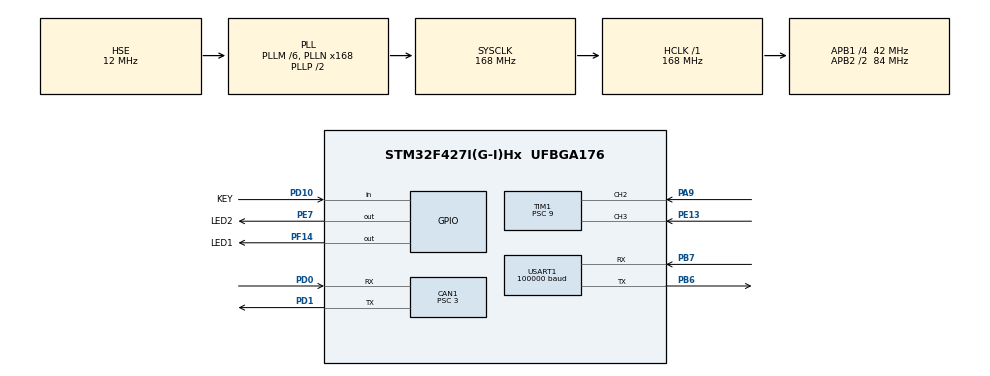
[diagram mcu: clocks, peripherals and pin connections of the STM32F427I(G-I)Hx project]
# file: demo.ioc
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CAN1.ABOM=ENABLE
CAN1.BS1=CAN_BS1_9TQ
CAN1.BS2=CAN_BS2_4TQ
CAN1.CalculateTimeBit=1000
CAN1.CalculateTimeQuantum=71.42857142857143
CAN1.Prescaler=3
CAN1.SJW=CAN_SJW_1TQ
Dma.Request0=USART1_RX
Dma.Request1=TIM1_CH1/CH2/CH3
Dma.TIM1_CH1/CH2/CH3.1.Direction=DMA_PERIPH_TO_MEMORY
Dma.TIM1_CH1/CH2/CH3.1.FIFOMode=DMA_FIFOMODE_DISABLE
Dma.TIM1_CH1/CH2/CH3.1.Instance=DMA2_Stream6
Dma.TIM1_CH1/CH2/CH3.1.MemDataAlignment=DMA_MDATAALIGN_HALFWORD
Dma.TIM1_CH1/CH2/CH3.1.MemInc=DMA_MINC_ENABLE
Dma.TIM1_CH1/CH2/CH3.1.Mode=DMA_CIRCULAR
Dma.TIM1_CH1/CH2/CH3.1.PeriphDataAlignment=DMA_PDATAALIGN_HALFWORD
Dma.TIM1_CH1/CH2/CH3.1.PeriphInc=DMA_PINC_DISABLE
Dma.TIM1_CH1/CH2/CH3.1.Priority=DMA_PRIORITY_LOW
Dma.USART1_RX.0.Direction=DMA_PERIPH_TO_MEMORY
Dma.USART1_RX.0.FIFOMode=DMA_FIFOMODE_DISABLE
Dma.USART1_RX.0.Instance=DMA2_Stream2
Dma.USART1_RX.0.MemDataAlignment=DMA_MDATAALIGN_BYTE
Dma.USART1_RX.0.MemInc=DMA_MINC_ENABLE
Dma.USART1_RX.0.Mode=DMA_NORMAL
Dma.USART1_RX.0.PeriphDataAlignment=DMA_PDATAALIGN_BYTE
Dma.USART1_RX.0.PeriphInc=DMA_PINC_DISABLE
Dma.USART1_RX.0.Priority=DMA_PRIORITY_LOW
Mcu.Family=STM32F4
Mcu.Name=STM32F427I(G-I)Hx
Mcu.Package=UFBGA176
NVIC.CAN1_RX0_IRQn=true\:0\:0\:false\:false\:true\:true\:true
NVIC.CAN1_TX_IRQn=true\:0\:0\:false\:false\:true\:true\:true
NVIC.DMA2_Stream2_IRQn=true\:0\:0\:false\:false\:true\:true\:true
NVIC.DMA2_Stream6_IRQn=true\:0\:0\:false\:false\:true\:false\:true
NVIC.PriorityGroup=NVIC_PRIORITYGROUP_4
NVIC.TIM6_DAC_IRQn=true\:0\:0\:false\:false\:true\:true\:true
NVIC.TimeBase=TIM6_DAC_IRQn
NVIC.TimeBaseIP=TIM6
NVIC.USART1_IRQn=true\:0\:0\:false\:false\:true\:true\:true
PA13.Mode=Serial_Wire
PA13.Signal=SYS_JTMS-SWDIO
PA14.Mode=Serial_Wire
PA14.Signal=SYS_JTCK-SWCLK
PA9.Signal=S_TIM1_CH2
PB6.Mode=Asynchronous
PB6.Signal=USART1_TX
PB7.Mode=Asynchronous
PB7.Signal=USART1_RX
PD0.Mode=Master
PD0.Signal=CAN1_RX
PD1.Mode=Master
PD1.Signal=CAN1_TX
PD10.GPIO_Label=KEY
PD10.Signal=GPIO_Input
PE13.Signal=S_TIM1_CH3
PE7.GPIO_Label=LED2
PE7.Signal=GPIO_Output
PF14.GPIO_Label=LED1
PF14.Signal=GPIO_Output
PH0/OSC_IN.Mode=HSE-External-Oscillator
PH0/OSC_IN.Signal=RCC_OSC_IN
PH1/OSC_OUT.Mode=HSE-External-Oscillator
PH1/OSC_OUT.Signal=RCC_OSC_OUT
ProjectManager.HeapSize=0x200
ProjectManager.StackSize=0x400
ProjectManager.TargetToolchain=STM32CubeIDE
RCC.48MHZClocksFreq_Value=84000000
RCC.AHBFreq_Value=168000000
RCC.APB1CLKDivider=RCC_HCLK_DIV4
RCC.APB1Freq_Value=42000000
RCC.APB1TimFreq_Value=84000000
RCC.APB2CLKDivider=RCC_HCLK_DIV2
RCC.APB2Freq_Value=84000000
RCC.APB2TimFreq_Value=168000000
RCC.CortexFreq_Value=168000000
RCC.HCLKFreq_Value=168000000
RCC.HSE_VALUE=12000000
RCC.HSI_VALUE=16000000
RCC.LSE_VALUE=32768
RCC.PLLM=6
RCC.PLLN=168
RCC.PLLSourceVirtual=RCC_PLLSOURCE_HSE
RCC.SYSCLKFreq_VALUE=168000000
RCC.SYSCLKSource=RCC_SYSCLKSOURCE_PLLCLK
RCC.VCOOutputFreq_Value=336000000
SH.S_TIM1_CH2.0=TIM1_CH2,Input_Capture2_from_TI2
SH.S_TIM1_CH2.1=TIM1_CH2,Input_Capture1_from_TI2
SH.S_TIM1_CH3.0=TIM1_CH3,Input_Capture3_from_TI3
SH.S_TIM1_CH3.1=TIM1_CH3,Input_Capture4_from_TI3
TIM1.Channel-Input_Capture1_from_TI2=TIM_CHANNEL_1
TIM1.Channel-Input_Capture2_from_TI2=TIM_CHANNEL_2
TIM1.Channel-Input_Capture3_from_TI3=TIM_CHANNEL_3
TIM1.Channel-Input_Capture4_from_TI3=TIM_CHANNEL_4
TIM1.ICPolarity_CH2=TIM_INPUTCHANNELPOLARITY_BOTHEDGE
TIM1.Period=9999
TIM1.Prescaler=9
USART1.BaudRate=100000
USART1.Parity=PARITY_EVEN
USART1.VirtualMode=VM_ASYNC
VP_SYS_VS_tim6.Mode=TIM6
board=demo

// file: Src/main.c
/* USER CODE BEGIN Header */
/**
  ******************************************************************************
  * @file           : main.c
  * @brief          : Main program body
  ******************************************************************************
  * @attention
  *
  * <h2><center>&copy; Copyright (c) 2019 STMicroelectronics.
  * All rights reserved.</center></h2>
  *
  * This software component is licensed by ST under BSD 3-Clause license,
  * the "License"; You may not use this file except in compliance with the
  * License. You may obtain a copy of the License at:
  *                        opensource.org/licenses/BSD-3-Clause
  *
  ******************************************************************************
  */
/* USER CODE END Header */

#include "main.h"
#include "can.h"
#include "dma.h"
#include "tim.h"
#include "usart.h"
#include "gpio.h"

/* USER CODE BEGIN Includes */
#include "kalman_filter.h"
#include "./bsp/bsp_can.h"
#include "./bsp/bsp_imu.h"
#include "./bsp/pid.h"
#include "Remote_Control.h"
/* USER CODE END Includes */

/* USER CODE BEGIN PV */
/* Private variables ---------------------------------------------------------*/
#define INFANTRY_1

/* uart vars */
char * result;
float heading = 999;
float heading_pos = 999;
uint8_t aRxBuffer;
uint8_t Uart1_RxBuff[256];
uint8_t Uart1_Rx_Cnt = 0;
uint8_t	cAlmStr[] = "overflow!!!\r\n";

PID_TypeDef motor_pid[4];
PID_TypeDef chassis_rotate_pos;

PID_TypeDef yaw_pid_lock_speed;
PID_TypeDef yaw_pid_lock_pos;

PID_TypeDef pitch_pid_speed;
PID_TypeDef yaw_pid_speed;
PID_TypeDef pitch_pid_pos;
PID_TypeDef yaw_pid_pos;
PID_TypeDef yaw_pid_aim_pos;

PID_TypeDef trigger_pid_speed;
// yaw 345
// pitch
int32_t set_spd = 0;

int32_t end_Yaw = 0;
// Calculate Time
int32_t counter = 0;
uint32_t imuCalTime = 0;
uint32_t imuFirst = 0;
uint32_t imuLast = 0;

uint32_t pid_pos_first = 0;
uint32_t pid_pos_last = 0;
uint32_t pid_pos_time = 0;

uint32_t pid_speed_last = 0;
uint32_t pid_speed_time = 0;

uint32_t pid_time = 0;

#ifdef INFANTRY_1
int32_t pitch_zero_position = -51;
int32_t yaw_zero_position = 27;
float sbase = 2;
#endif
#ifdef INFANTRY_2
int32_t pitch_zero_position = -55;
int32_t yaw_zero_position = -60;
float sbase = 1.5;
#endif
// Infantry 3
#ifdef INFANTRY_3
int32_t pitch_zero_position = -175;
int32_t yaw_zero_position = 2;
float sbase = 2;
#endif

int32_t yaw_test_speed = 0;
//Trigger
int32_t test_speed = 1000;

// Friction Wheel
int32_t launch_pwm = 1150;

float pitch_angle = 0;
float yaw_angle = 0;

int32_t wheel_speeds[4];
int32_t x_speed = 0;
int32_t y_speed = 0;
float rotate_speed = 0;
float r_speed = 0;

// integration of speed for mouse
float x_integrand = 0;
float y_integrand = 0;

int32_t test_Callback = 0;

static int key_sta = 0;
int speed_step_sign = +1;

int lock_control = 0;

int w_pressed = 0;

uint16_t TIM_COUNT[2];
#define SpeedStep 500

float pitch_filter_value = 0;
float yaw_filter_value = 0;
float output_value = 0;

int center_angle;

int firstTime = 1;
int firstAim = 1;

uint8_t chassis_mode = 0;

float speed_scale = 0;

kalman1_state pitch_filter;
kalman1_state yaw_filter;

extern imu_t imu;

uint32_t x_stopped_time;
uint8_t mouse_x_moved;

int send_control = 0;
int niuYao = 0;

/* USER CODE END PV */

void SystemClock_Config(void);
/* USER CODE BEGIN PFP */
/* Private function prototypes -----------------------------------------------*/

/* USER CODE END PFP */

/* USER CODE BEGIN 0 */
void Key_Scan(){

		if(HAL_GPIO_ReadPin(KEY_GPIO_Port,KEY_Pin) == GPIO_PIN_RESET){

			if(key_sta == 0){

				key_sta = 1;

				set_spd += SpeedStep*speed_step_sign;

				if(set_spd>8000)
				{
					speed_step_sign = -1;
				}

				if(set_spd<=0){

					set_spd = 0;
					speed_step_sign = 1;

				}

			}

		}else{

			key_sta = 0;

		}

}

/* USER CODE END 0 */

int main(void)
{

  /* MCU Configuration--------------------------------------------------------*/

  /* Reset of all peripherals, Initializes the Flash interface and the Systick. */
  HAL_Init();

  /* Configure the system clock */
  SystemClock_Config();

  /* Initialize all configured peripherals */
  MX_GPIO_Init();
  MX_DMA_Init();
  MX_CAN1_Init();
  MX_USART1_UART_Init();
  MX_TIM1_Init();
  /* USER CODE BEGIN 2 */
  my_can_filter_init_recv_all(&hcan1);     // Initialize CAN filter
  HAL_CAN_Receive_IT(&hcan1, CAN_FIFO0);   // Initialize CAN Signal Receiver
  HAL_UART_Receive_IT_IDLE(&huart1,UART_Buffer,100);   //Initialize UART(Serial) Signal Receiver (IDLE?)
  HAL_UART_Receive_IT(&huart6, (uint8_t *)&aRxBuffer, 1); //Initialize UART(Serial) Signal Receiver

  HAL_TIM_IC_Start_DMA(&htim1,TIM_CHANNEL_2,(uint32_t *)TIM_COUNT,2);

	HAL_TIM_PWM_Start(&htim2,TIM_CHANNEL_1);
	HAL_TIM_PWM_Start(&htim2,TIM_CHANNEL_2);
	HAL_TIM_PWM_Start(&htim2,TIM_CHANNEL_3);
	HAL_TIM_PWM_Start(&htim2,TIM_CHANNEL_4);

	HAL_TIM_PWM_Start(&htim4,TIM_CHANNEL_1);
	HAL_TIM_PWM_Start(&htim4,TIM_CHANNEL_2);
	HAL_TIM_PWM_Start(&htim4,TIM_CHANNEL_3);
	HAL_TIM_PWM_Start(&htim4,TIM_CHANNEL_4);

	/*< Initialize PID for the 4 wheels >*/
  for(int i=0; i<4; i++)
  {
    pid_init(&motor_pid[i]);
    motor_pid[i].f_param_init(&motor_pid[i],PID_Speed,16384,5000,10,0,8000,0,6.0,0,0.5);
  }

	pid_init(&chassis_rotate_pos);
	pid_init(&yaw_pid_lock_pos);
	pid_init(&yaw_pid_lock_speed);
	pid_init(&pitch_pid_pos);
	pid_init(&pitch_pid_speed);
	pid_init(&yaw_pid_pos);
	pid_init(&yaw_pid_speed);
	pid_init(&trigger_pid_speed);
	pid_init(&yaw_pid_aim_pos);

	// Dodge Mode PID for yaw axis positional control
	yaw_pid_lock_pos.f_param_init(&yaw_pid_lock_pos, PID_Position, 30000, 30000, 0, 0, 8000, 0, 15, 0.0, 30);
	yaw_pid_lock_pos.target = yaw_zero_position;
	yaw_pid_lock_pos.f_cal_pid(&yaw_pid_lock_pos, moto_yaw.angle_360);

	// Dodge Mode PID for yaw axis speed control
	yaw_pid_lock_speed.f_param_init(&yaw_pid_lock_speed, PID_Speed, 30000, 30000, 0, 0, 8000, 0, 120, 0, 0);
	yaw_pid_lock_speed.target = 0;
	yaw_pid_lock_speed.f_cal_pid(&yaw_pid_lock_speed, moto_yaw.ecd_raw_rate);

	// Normal Mode PID for yaw axis positional control
	yaw_pid_pos.f_param_init(&yaw_pid_pos, PID_Position, 1500,1500,-2,0,2000,0,30,0,60);
	yaw_pid_pos.target = yaw_zero_position;
	yaw_pid_pos.f_cal_pid(&yaw_pid_pos, moto_yaw.angle_360);

	// Normal Mode PID for yaw axis speed control
	yaw_pid_speed.f_param_init(&yaw_pid_speed, PID_Speed, 30000,30000,0,0,8000,0,80,0,0);
	yaw_pid_speed.target = yaw_pid_pos.output;
	yaw_pid_speed.f_cal_pid(&yaw_pid_speed, moto_yaw.speed_rpm);

	// Legacy Code problem
    yaw_pid_speed.target = 0;
	yaw_pid_pos.target = heading_pos;

	// Aim Mode PID for yaw axis positional control (using normal mode speed control PID)
	yaw_pid_aim_pos.f_param_init(&yaw_pid_aim_pos, PID_Position, 30000, 30000, 0, 0, 8000, 0, 3, 0.0, 15);
	yaw_pid_aim_pos.target = yaw_zero_position;
	yaw_pid_aim_pos.f_cal_pid(&yaw_pid_aim_pos, moto_yaw.angle_360);

	chassis_rotate_pos.f_param_init(&chassis_rotate_pos, PID_Position, 5000, 5000, 0, 0, 5000, 0, 50, 0, 6);
	chassis_rotate_pos.target = yaw_zero_position;
	chassis_rotate_pos.f_cal_pid(&chassis_rotate_pos, moto_yaw.angle_360);

	pitch_pid_pos.f_param_init(&pitch_pid_pos, PID_Position, 1000,5000,-2,0,2000,0,30,0,80);
	pitch_pid_pos.target = pitch_angle;
	pitch_pid_pos.f_cal_pid(&pitch_pid_pos, -moto_pit.angle_360);

	pitch_pid_speed.f_param_init(&pitch_pid_speed, PID_Speed, 30000,30000,0,0,8000,0,50,0,0);
	pitch_pid_speed.target = -pitch_pid_pos.output;
	pitch_pid_speed.f_cal_pid(&pitch_pid_speed, moto_pit.ecd_raw_rate);

	// infantry
	trigger_pid_speed.f_param_init(&trigger_pid_speed, PID_Speed, 8000, 5000, 10, 0, 8000, 0, 1.5, 0.1, 0);
	// hero
	//trigger_pid_speed.f_param_init(&trigger_pid_speed, PID_Speed, 8000, 5000, 10, 0, 8000, 0, 5, 0, 0);

	kalman1_init(&yaw_filter, moto_yaw.speed_rpm, 1e2);
	kalman1_init(&pitch_filter, pitch_pid_speed.output, 1e3);

	mpu_device_init();
	init_quaternion();
	imu.yaw = 999;
	imu.rol = 999;

	pitch_angle = pitch_zero_position;

  /* USER CODE END 2 */

  /* Infinite loop */
  /* USER CODE BEGIN WHILE */
  while (1)
  {
		if(send_control) {
			send_control = 0;
		} else {
			send_control = 1;
		}

    if(HAL_GetTick() - Latest_Remote_Control_Pack_Time >500){   //���500ms��û���յ�ң�������ݣ�֤��ң���������Ѿ�����

		// process controller input
    }else{
      set_spd = remote_control.ch4*8000/660;
			y_speed = -remote_control.ch4*8000/660;
			x_speed = -remote_control.ch3*8000/660;
			rotate_speed = -remote_control.ch1*8000.0/660.0;

			yaw_angle = yaw_zero_position - remote_control.ch1*20.0/660.0;

			pitch_angle = pitch_zero_position + remote_control.ch2*12.0/660.0;
    }

		if(is_mouse_moved()) {
			rotate_speed = -calculate_mouse_x_speed()*8000;
		}

		if(is_w_pressed())
		{
			y_speed = -0.2*8000;
		}

		if(is_s_pressed()){

			y_speed = 0.2*8000;
		}

		if(is_a_pressed()) {
			x_speed = 0.2*8000;
		}

		if(is_d_pressed()) {
			x_speed = -0.2*8000;
		}

		if(is_q_pressed()) {
			rotate_speed = 0.2*8000;
		}

		if(is_e_pressed()) {
			rotate_speed = -0.2*8000;
		}

		switch(remote_control.switch_left){
			case 1: //left up
			{
				htim4.Instance->CCR1 = 1800;
				htim4.Instance->CCR2 = 1800;
				break;
			}
			case 2: //left Down
			{
				htim4.Instance->CCR1 = 1800;
				htim4.Instance->CCR2 = 1800;
				break;
			}
			case 3: // left middle
				htim4.Instance->CCR1 = 1000;
				htim4.Instance->CCR2 = 1000;
		}

		// turret aiming
		if(niuYao){
			if (firstTime){
			  yaw_pid_lock_pos.target = heading_pos;
				//chassis_rotate_pos.target = yaw_zero_position - 30;
			}

			if(heading != 999 && heading_pos != 999) {

				if ( moto_yaw.angle_360 - yaw_zero_position < - 20 ){
					chassis_rotate_pos.target = yaw_zero_position + 20;

				}
				if ( moto_yaw.angle_360 - yaw_zero_position > 20 ){
					chassis_rotate_pos.target = yaw_zero_position - 20;
				}

				// Set the yaw_moto target to chassis_rotate target
				//yaw_pid_lock_pos.target = chassis_rotate_pos.target;

				yaw_pid_lock_pos.f_cal_pid(&yaw_pid_lock_pos, heading_pos);
				yaw_pid_lock_speed.target = -yaw_pid_lock_pos.output;

				yaw_pid_lock_speed.f_cal_pid( &yaw_pid_lock_speed, moto_yaw.ecd_raw_rate);
				yaw_pid_speed.output = yaw_pid_lock_speed.output;

		    chassis_rotate_pos.f_cal_pid(&chassis_rotate_pos, moto_yaw.angle_360);

				//Test: Close chassis rotate
				//chassis_rotate_pos.output=0;

				rotate_speed = -chassis_rotate_pos.output;
				wheel_speeds[0] = x_speed + y_speed + rotate_speed;
				wheel_speeds[1] = -x_speed + y_speed - rotate_speed;
				wheel_speeds[2] = -x_speed + y_speed + rotate_speed;
				wheel_speeds[3] = x_speed + y_speed - rotate_speed;

				wheel_speeds[0] = wheel_speeds[0] * -1;
				wheel_speeds[2] = wheel_speeds[2] * -1;
			}

			firstTime = 0;

		} else {
		  yaw_pid_pos.target = yaw_zero_position;
		  yaw_pid_pos.f_cal_pid(&yaw_pid_pos, moto_yaw.angle_360);

	  	yaw_pid_speed.target = yaw_pid_pos.output;
		  yaw_pid_speed.f_cal_pid(&yaw_pid_speed, moto_yaw.ecd_raw_rate);

		  wheel_speeds[0] = x_speed + y_speed + rotate_speed;
		  wheel_speeds[1] = -x_speed + y_speed - rotate_speed;
		  wheel_speeds[2] = -x_speed + y_speed + rotate_speed;
		  wheel_speeds[3] = x_speed + y_speed - rotate_speed;

		  wheel_speeds[0] = wheel_speeds[0] * -1;
		  wheel_speeds[2] = wheel_speeds[2] * -1;

			chassis_rotate_pos.output=0;
			chassis_rotate_pos.target = yaw_zero_position - 20;
			firstTime = 1;
		}

		// lose control
		if (moto_yaw.angle_360 > 110 ){
			end_Yaw = 1;
		}

//////////////////////////////////Calculate PID////////////////////////////////////////////////////////
    for(int i=0; i<4; i++)
    {
      motor_pid[i].target = wheel_speeds[i];
      motor_pid[i].f_cal_pid(&motor_pid[i],moto_chassis[i].speed_rpm);    //�����趨ֵ����PID���㡣
    }

		pitch_pid_pos.target = pitch_angle;
		pitch_pid_pos.f_cal_pid(&pitch_pid_pos, moto_pit.angle_360);

		pitch_pid_speed.target = pitch_pid_pos.output;
		pitch_pid_speed.f_cal_pid(&pitch_pid_speed, moto_pit.ecd_raw_rate);

		switch(remote_control.switch_right) {
			// right up, turn on trigger
			case 1:
			{
				trigger_pid_speed.target = test_speed;
				trigger_pid_speed.f_cal_pid(&trigger_pid_speed, moto_trigger.ecd_raw_rate);
				niuYao = 1;
				break;
			}
			// right down, turn  on trigger
			case 2:
			{
				trigger_pid_speed.target = test_speed;
				trigger_pid_speed.f_cal_pid(&trigger_pid_speed, moto_trigger.ecd_raw_rate);
			  niuYao = 1;
				break;
			}
			// right middle, turn off trigger
			case 3:
			{
				trigger_pid_speed.target = 0;
				trigger_pid_speed.f_cal_pid(&trigger_pid_speed, moto_trigger.ecd_raw_rate);
				niuYao = 0;
				break;
			}
		}
//////////////////////////////////////////////////////////////////////////////////////////////////////

		if (end_Yaw != 0){
		  yaw_pid_speed.output = 0;
			for(int i=0; i<4; i++){
        motor_pid[i].output = 0;
      }
			pitch_pid_speed.output = 0;
			chassis_rotate_pos.output=0;
			trigger_pid_speed.output = 0;
		}

		// set chassis motors' currents via CAN
    set_moto_current(&hcan1, motor_pid[0].output,   //��PID�ļ�����ͨ��CAN���͵����
                        motor_pid[1].output,
                        motor_pid[2].output,
                        motor_pid[3].output);

		// send calculated current to yaw, pitch, and trigger motors

		if(send_control) {
				send_gimbal_cur(&hcan1, yaw_pid_speed.output, pitch_pid_speed.output, trigger_pid_speed.output);
			}

			HAL_Delay(5);      //PID����Ƶ��100HZ

  }
}

void SystemClock_Config(void)
{
  RCC_OscInitTypeDef RCC_OscInitStruct = {0};
  RCC_ClkInitTypeDef RCC_ClkInitStruct = {0};

  /** Configure the main internal regulator output voltage
  */
  __HAL_RCC_PWR_CLK_ENABLE();
  __HAL_PWR_VOLTAGESCALING_CONFIG(PWR_REGULATOR_VOLTAGE_SCALE1);
  /** Initializes the CPU, AHB and APB busses clocks
  */
  RCC_OscInitStruct.OscillatorType = RCC_OSCILLATORTYPE_HSE;
  RCC_OscInitStruct.HSEState = RCC_HSE_ON;
  RCC_OscInitStruct.PLL.PLLState = RCC_PLL_ON;
  RCC_OscInitStruct.PLL.PLLSource = RCC_PLLSOURCE_HSE;
  RCC_OscInitStruct.PLL.PLLM = 6;
  RCC_OscInitStruct.PLL.PLLN = 168;
  RCC_OscInitStruct.PLL.PLLP = RCC_PLLP_DIV2;
  RCC_OscInitStruct.PLL.PLLQ = 4;
  if (HAL_RCC_OscConfig(&RCC_OscInitStruct) != HAL_OK)
  {
    Error_Handler();
  }
  /** Initializes the CPU, AHB and APB busses clocks
  */
  RCC_ClkInitStruct.ClockType = RCC_CLOCKTYPE_HCLK|RCC_CLOCKTYPE_SYSCLK
                              |RCC_CLOCKTYPE_PCLK1|RCC_CLOCKTYPE_PCLK2;
  RCC_ClkInitStruct.SYSCLKSource = RCC_SYSCLKSOURCE_PLLCLK;
  RCC_ClkInitStruct.AHBCLKDivider = RCC_SYSCLK_DIV1;
  RCC_ClkInitStruct.APB1CLKDivider = RCC_HCLK_DIV4;
  RCC_ClkInitStruct.APB2CLKDivider = RCC_HCLK_DIV2;

  if (HAL_RCC_ClockConfig(&RCC_ClkInitStruct, FLASH_LATENCY_5) != HAL_OK)
  {
    Error_Handler();
  }
}

/* USER CODE BEGIN 4 */
/**
  * @brief  Rx Transfer completed callbacks.
  * @param  huart pointer to a UART_HandleTypeDef structure that contains
  *                the configuration information for the specified UART module.
  * @retval None
  */
void HAL_UART_RxCpltCallback(UART_HandleTypeDef *huart)
{

  /* Prevent unused argument(s) compilation warning */
  UNUSED(huart);
  /* NOTE: This function Should not be modified, when the callback is needed,
           the HAL_UART_TxCpltCallback could be implemented in the user file
   */

	if(Uart1_Rx_Cnt >= 255)
	{
		Uart1_Rx_Cnt = 0;
		memset(Uart1_RxBuff,0x00,sizeof(Uart1_RxBuff));
		HAL_UART_Transmit(&huart6, (uint8_t *)&cAlmStr, sizeof(cAlmStr),0xFFFF);
	}
	else
	{
		Uart1_RxBuff[Uart1_Rx_Cnt++] = aRxBuffer;

		if((Uart1_RxBuff[Uart1_Rx_Cnt-1] == 0x0A)&&(Uart1_RxBuff[Uart1_Rx_Cnt-2] == 0x0D) && (Uart1_RxBuff[Uart1_Rx_Cnt-3] != 0x21))
		{
			//HAL_UART_Transmit(&huart6, (uint8_t *)&Uart1_RxBuff, Uart1_Rx_Cnt,0xFFFF);
			char * heading_string;
			heading_string = (char*) &Uart1_RxBuff;
			heading = (float)atof(heading_string);
			Uart1_Rx_Cnt = 0;
			memset(Uart1_RxBuff,0x00,sizeof(Uart1_RxBuff));
		}
		else if((Uart1_RxBuff[Uart1_Rx_Cnt-1] == 0x0A)&&(Uart1_RxBuff[Uart1_Rx_Cnt-2] == 0x0D) && (Uart1_RxBuff[Uart1_Rx_Cnt-3] == 0x21))
		{
			char * heading_string;
			heading_string = (char*) &Uart1_RxBuff;
			heading_pos = (float)atof(heading_string);
			Uart1_Rx_Cnt = 0;
			memset(Uart1_RxBuff,0x00,sizeof(Uart1_RxBuff));
      if( counter == 0 ){
			  imuFirst = HAL_GetTick();
		  }
      if (counter == 1 ){
				imuLast = HAL_GetTick();
				imuCalTime = imuLast - imuFirst;
			}
			if (counter <= 3 ) {
				counter++;
			}
		}

	}

	HAL_UART_Receive_IT(&huart6, (uint8_t *)&aRxBuffer, 1);

}
/* USER CODE END 4 */

void HAL_TIM_PeriodElapsedCallback(TIM_HandleTypeDef *htim)
{
  if (htim->Instance == TIM6) {
    HAL_IncTick();
  }
}

void _Error_Handler(char * file, int line)
{
  while(1)
  {
  }
}

/************************ (C) COPYRIGHT STMicroelectronics *****END OF FILE****/
